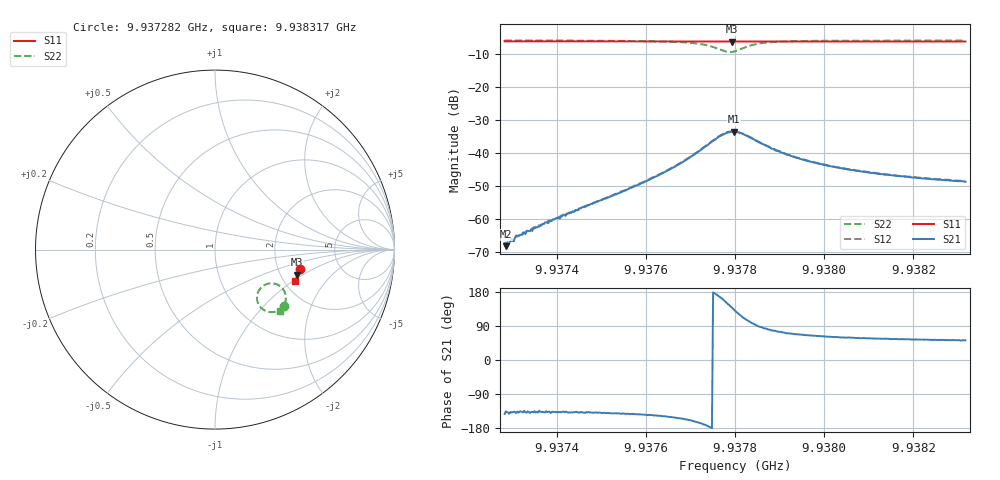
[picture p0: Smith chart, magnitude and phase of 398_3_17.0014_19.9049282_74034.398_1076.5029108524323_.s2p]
#  HZ  S  RI  R  50.00
! Rohde & Schwarz Vector Network Analyzer
! Rohde-Schwarz,ZNB20-2Port,1311601062101988,3.16
! Created: UTC 3/20/2024, 11:09:56 PM
! freq[Hz]  re:S11  im:S11  re:S21  im:S21  re:S12  im:S12  re:S22  im:S22
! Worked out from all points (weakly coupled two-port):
!   401 points, 9.937282 GHz to 9.938317 GHz, reference 50 ohm
!   highest |S21| = -33.55 dB at 9.937797 GHz (marker M1); lowest = -68.1 dB at 9.937285 GHz (marker M2)
!   lowest |S11| = -6.4 dB at 9.937792 GHz (marker M3), VSWR 2.84, Z = 123 - j44.6 ohm
!   |S11| at or under -10 dB: nowhere
!   |S22| runs from -9.6 to -6.1 dB; largest |S21 - S12| = 0.00094
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9.9372825e9  0.4715 -0.1073  -0.000344 -0.000264  -0.000304 -0.000286  0.3853 -0.3154
9.9372851e9  0.4716 -0.1073  -0.00028 -0.000276  -0.000327 -0.000297  0.3851 -0.3159
9.937298e9  0.4713 -0.1083  -0.000358 -0.000316  -0.000389 -0.000332  0.3841 -0.3166
9.9373109e9  0.4711 -0.1091  -0.000409 -0.000392  -0.000413 -0.000364  0.3832 -0.3175
9.937329e9  0.4705 -0.1104  -0.000444 -0.000404  -0.000479 -0.000401  0.3818 -0.3189
9.9373807e9  0.4695 -0.1139  -0.000635 -0.00061  -0.000696 -0.000652  0.3774 -0.3227
9.9374557e9  0.468 -0.119  -0.00111 -0.00102  -0.00115 -0.000971  0.3701 -0.3288
9.9375385e9  0.4662 -0.1244  -0.0019 -0.00157  -0.00199 -0.00154  0.3589 -0.3362
9.937629e9  0.464 -0.1305  -0.00393 -0.00252  -0.00402 -0.00253  0.3377 -0.3453
9.9376782e9  0.4625 -0.1338  -0.00637 -0.00308  -0.0065 -0.00301  0.3152 -0.3487
9.9377325e9  0.4605 -0.1375  -0.0122 -0.00197  -0.0126 -0.00173  0.2673 -0.3336
9.9377713e9  0.4587 -0.1391  -0.0177 0.00599  -0.018 0.00661  0.2339 -0.2641
9.9377919e9  0.4583 -0.1395  -0.0159 0.0137  -0.0156 0.0145  0.2611 -0.2078
9.9377971e9  0.4584 -0.1395  -0.0145 0.0153  -0.0141 0.0159  0.2744 -0.1981
9.9377997e9  0.4583 -0.1396  -0.0136 0.0158  -0.0133 0.0166  0.2818 -0.1947
9.9378178e9  0.4585 -0.1404  -0.0073 0.018  -0.00688 0.0183  0.3323 -0.1898
9.937854e9  0.4587 -0.1431  0.000408 0.0145  0.000752 0.0147  0.3847 -0.2293
9.9379135e9  0.4577 -0.1473  0.00318 0.00912  0.00329 0.00909  0.3946 -0.2776
9.937973e9  0.4563 -0.1516  0.00316 0.00661  0.0033 0.00657  0.3892 -0.3005
9.9380557e9  0.454 -0.1569  0.00288 0.00482  0.00304 0.00484  0.3804 -0.3176
9.9381462e9  0.4515 -0.163  0.00262 0.00386  0.00274 0.00384  0.3722 -0.3291
9.9383169e9  0.4469 -0.1739  0.00227 0.00289  0.00237 0.0029  0.3594 -0.3432
